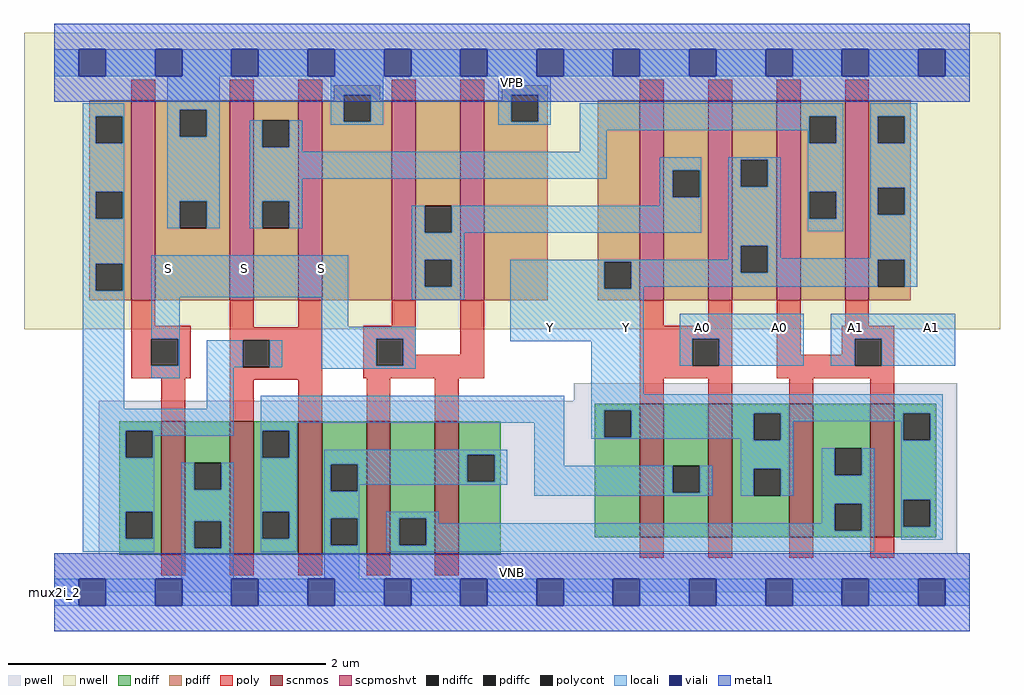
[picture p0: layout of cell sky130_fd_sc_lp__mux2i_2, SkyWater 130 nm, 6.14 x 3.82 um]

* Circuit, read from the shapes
.subckt sky130_fd_sc_lp__mux2i_2 A0 A1 S VGND VNB VPB VPWR Y
XM1 VGND S n1 VNB sky130_fd_pr__nfet_01v8 w=0.84 l=0.15
XM2 n2 n1 VGND VNB sky130_fd_pr__nfet_01v8 w=0.84 l=0.15 m=2
XM3 n3 S VGND VNB sky130_fd_pr__nfet_01v8 w=0.84 l=0.15 m=2
XM4 n2 A0 Y VNB sky130_fd_pr__nfet_01v8 w=0.84 l=0.15 m=2
XM5 n3 A1 Y VNB sky130_fd_pr__nfet_01v8 w=0.84 l=0.15 m=2
XM6 VPWR S n1 VPB sky130_fd_pr__pfet_01v8_hvt w=1.26 l=0.15
XM7 n4 n1 VPWR VPB sky130_fd_pr__pfet_01v8_hvt w=1.26 l=0.15 m=2
XM8 n5 S VPWR VPB sky130_fd_pr__pfet_01v8_hvt w=1.26 l=0.15 m=2
XM9 n5 A0 Y VPB sky130_fd_pr__pfet_01v8_hvt w=1.26 l=0.15 m=2
XM10 n4 A1 Y VPB sky130_fd_pr__pfet_01v8_hvt w=1.26 l=0.15 m=2
.ends

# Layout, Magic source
magic
tech sky130A
magscale 1 2
<< nwell >>
rect -38 331 1190 704
<< pwell >>
rect 654 241 1136 263
rect 56 49 1136 241
rect 0 0 1152 49
<< scnmos >>
rect 135 47 165 215
rect 221 47 251 215
rect 307 47 337 215
rect 393 47 423 215
rect 479 47 509 215
rect 737 69 767 237
rect 823 69 853 237
rect 925 69 955 237
rect 1027 69 1057 237
<< scpmoshvt >>
rect 97 367 127 619
rect 221 367 251 619
rect 307 367 337 619
rect 425 367 455 619
rect 511 367 541 619
rect 737 367 767 619
rect 823 367 853 619
rect 909 367 939 619
rect 995 367 1025 619
<< ndiff >>
rect 680 229 737 237
rect 82 203 135 215
rect 82 169 90 203
rect 124 169 135 203
rect 82 101 135 169
rect 82 67 90 101
rect 124 67 135 101
rect 82 47 135 67
rect 165 163 221 215
rect 165 129 176 163
rect 210 129 221 163
rect 165 89 221 129
rect 165 55 176 89
rect 210 55 221 89
rect 165 47 221 55
rect 251 203 307 215
rect 251 169 262 203
rect 296 169 307 203
rect 251 101 307 169
rect 251 67 262 101
rect 296 67 307 101
rect 251 47 307 67
rect 337 161 393 215
rect 337 127 348 161
rect 382 127 393 161
rect 337 93 393 127
rect 337 59 348 93
rect 382 59 393 93
rect 337 47 393 59
rect 423 93 479 215
rect 423 59 434 93
rect 468 59 479 93
rect 423 47 479 59
rect 509 173 562 215
rect 509 139 520 173
rect 554 139 562 173
rect 509 47 562 139
rect 680 195 692 229
rect 726 195 737 229
rect 680 69 737 195
rect 767 159 823 237
rect 767 125 778 159
rect 812 125 823 159
rect 767 69 823 125
rect 853 225 925 237
rect 853 191 880 225
rect 914 191 925 225
rect 853 155 925 191
rect 853 121 880 155
rect 914 121 925 155
rect 853 69 925 121
rect 955 181 1027 237
rect 955 147 982 181
rect 1016 147 1027 181
rect 955 111 1027 147
rect 955 77 982 111
rect 1016 77 1027 111
rect 955 69 1027 77
rect 1057 225 1110 237
rect 1057 191 1068 225
rect 1102 191 1110 225
rect 1057 116 1110 191
rect 1057 82 1068 116
rect 1102 82 1110 116
rect 1057 69 1110 82
<< pdiff >>
rect 352 626 410 638
rect 352 619 364 626
rect 44 599 97 619
rect 44 565 52 599
rect 86 565 97 599
rect 44 504 97 565
rect 44 470 52 504
rect 86 470 97 504
rect 44 413 97 470
rect 44 379 52 413
rect 86 379 97 413
rect 44 367 97 379
rect 127 607 221 619
rect 127 573 158 607
rect 192 573 221 607
rect 127 492 221 573
rect 127 458 158 492
rect 192 458 221 492
rect 127 367 221 458
rect 251 594 307 619
rect 251 560 262 594
rect 296 560 307 594
rect 251 492 307 560
rect 251 458 262 492
rect 296 458 307 492
rect 251 367 307 458
rect 337 592 364 619
rect 398 619 410 626
rect 563 626 621 638
rect 563 619 575 626
rect 398 592 425 619
rect 337 367 425 592
rect 455 486 511 619
rect 455 452 466 486
rect 500 452 511 486
rect 455 418 511 452
rect 455 384 466 418
rect 500 384 511 418
rect 455 367 511 384
rect 541 592 575 619
rect 609 592 621 626
rect 541 367 621 592
rect 684 416 737 619
rect 684 382 692 416
rect 726 382 737 416
rect 684 367 737 382
rect 767 531 823 619
rect 767 497 778 531
rect 812 497 823 531
rect 767 367 823 497
rect 853 544 909 619
rect 853 510 864 544
rect 898 510 909 544
rect 853 436 909 510
rect 853 402 864 436
rect 898 402 909 436
rect 853 367 909 402
rect 939 599 995 619
rect 939 565 950 599
rect 984 565 995 599
rect 939 504 995 565
rect 939 470 950 504
rect 984 470 995 504
rect 939 367 995 470
rect 1025 599 1078 619
rect 1025 565 1036 599
rect 1070 565 1078 599
rect 1025 509 1078 565
rect 1025 475 1036 509
rect 1070 475 1078 509
rect 1025 418 1078 475
rect 1025 384 1036 418
rect 1070 384 1078 418
rect 1025 367 1078 384
<< ndiffc >>
rect 90 169 124 203
rect 90 67 124 101
rect 176 129 210 163
rect 176 55 210 89
rect 262 169 296 203
rect 262 67 296 101
rect 348 127 382 161
rect 348 59 382 93
rect 434 59 468 93
rect 520 139 554 173
rect 692 195 726 229
rect 778 125 812 159
rect 880 191 914 225
rect 880 121 914 155
rect 982 147 1016 181
rect 982 77 1016 111
rect 1068 191 1102 225
rect 1068 82 1102 116
<< pdiffc >>
rect 52 565 86 599
rect 52 470 86 504
rect 52 379 86 413
rect 158 573 192 607
rect 158 458 192 492
rect 262 560 296 594
rect 262 458 296 492
rect 364 592 398 626
rect 466 452 500 486
rect 466 384 500 418
rect 575 592 609 626
rect 692 382 726 416
rect 778 497 812 531
rect 864 510 898 544
rect 864 402 898 436
rect 950 565 984 599
rect 950 470 984 504
rect 1036 565 1070 599
rect 1036 475 1070 509
rect 1036 384 1070 418
<< poly >>
rect 97 619 127 645
rect 221 619 251 645
rect 307 619 337 645
rect 425 619 455 645
rect 511 619 541 645
rect 737 619 767 645
rect 823 619 853 645
rect 909 619 939 645
rect 995 619 1025 645
rect 97 335 127 367
rect 97 319 172 335
rect 97 285 122 319
rect 156 285 172 319
rect 97 269 172 285
rect 221 333 251 367
rect 307 333 337 367
rect 425 335 455 367
rect 221 317 337 333
rect 221 283 237 317
rect 271 283 337 317
rect 135 215 165 269
rect 221 267 337 283
rect 389 319 455 335
rect 389 285 405 319
rect 439 299 455 319
rect 511 299 541 367
rect 439 285 541 299
rect 389 269 541 285
rect 737 335 767 367
rect 823 335 853 367
rect 737 319 853 335
rect 737 285 803 319
rect 837 285 853 319
rect 737 269 853 285
rect 909 299 939 367
rect 995 335 1025 367
rect 991 319 1057 335
rect 991 299 1007 319
rect 909 285 1007 299
rect 1041 285 1057 319
rect 909 269 1057 285
rect 221 215 251 267
rect 307 215 337 267
rect 393 215 423 269
rect 479 215 509 269
rect 737 237 767 269
rect 823 237 853 269
rect 925 237 955 269
rect 1027 237 1057 269
rect 135 21 165 47
rect 221 21 251 47
rect 307 21 337 47
rect 393 21 423 47
rect 479 21 509 47
rect 737 43 767 69
rect 823 43 853 69
rect 925 43 955 69
rect 1027 43 1057 69
<< polycont >>
rect 122 285 156 319
rect 237 283 271 317
rect 405 285 439 319
rect 803 285 837 319
rect 1007 285 1041 319
<< locali >>
rect 0 649 31 683
rect 65 649 127 683
rect 161 649 223 683
rect 257 649 319 683
rect 353 649 415 683
rect 449 649 511 683
rect 545 649 607 683
rect 641 649 703 683
rect 737 649 799 683
rect 833 649 895 683
rect 929 649 991 683
rect 1025 649 1087 683
rect 1121 649 1152 683
rect 36 599 88 615
rect 36 565 52 599
rect 86 565 88 599
rect 36 504 88 565
rect 36 470 52 504
rect 86 470 88 504
rect 36 413 88 470
rect 142 607 208 649
rect 142 573 158 607
rect 192 573 208 607
rect 348 626 414 649
rect 142 492 208 573
rect 142 458 158 492
rect 192 458 208 492
rect 246 560 262 594
rect 296 560 312 594
rect 348 592 364 626
rect 398 592 414 626
rect 348 588 414 592
rect 559 626 625 649
rect 559 592 575 626
rect 609 592 625 626
rect 559 588 625 592
rect 661 599 993 615
rect 246 554 312 560
rect 661 581 950 599
rect 661 554 695 581
rect 246 520 695 554
rect 948 565 950 581
rect 984 565 993 599
rect 762 531 814 547
rect 246 492 312 520
rect 246 458 262 492
rect 296 458 312 492
rect 762 497 778 531
rect 812 497 814 531
rect 762 486 814 497
rect 450 452 466 486
rect 500 452 814 486
rect 848 544 914 547
rect 848 510 864 544
rect 898 510 914 544
rect 36 379 52 413
rect 86 379 88 413
rect 36 231 88 379
rect 122 371 370 424
rect 122 319 158 371
rect 156 285 158 319
rect 336 334 370 371
rect 450 418 516 452
rect 848 436 914 510
rect 948 504 993 565
rect 948 470 950 504
rect 984 470 993 504
rect 948 454 993 470
rect 1027 599 1086 615
rect 1027 565 1036 599
rect 1070 565 1086 599
rect 1027 509 1086 565
rect 1027 475 1036 509
rect 1070 475 1086 509
rect 848 418 864 436
rect 450 384 466 418
rect 500 384 516 418
rect 450 368 516 384
rect 574 416 864 418
rect 574 382 692 416
rect 726 402 864 416
rect 898 420 914 436
rect 1027 420 1086 475
rect 898 418 1086 420
rect 898 402 1036 418
rect 726 384 1036 402
rect 1070 384 1086 418
rect 726 382 742 384
rect 336 319 455 334
rect 122 269 158 285
rect 192 283 237 317
rect 271 283 287 317
rect 336 285 405 319
rect 439 285 455 319
rect 574 316 742 382
rect 192 231 226 283
rect 336 281 455 285
rect 676 249 742 316
rect 787 319 943 350
rect 787 285 803 319
rect 837 285 943 319
rect 977 319 1134 350
rect 977 285 1007 319
rect 1041 285 1134 319
rect 36 203 226 231
rect 36 169 90 203
rect 124 197 226 203
rect 260 213 642 247
rect 260 203 306 213
rect 124 169 126 197
rect 36 101 126 169
rect 260 169 262 203
rect 296 169 306 203
rect 36 67 90 101
rect 124 67 126 101
rect 36 51 126 67
rect 160 129 176 163
rect 210 129 226 163
rect 160 89 226 129
rect 160 55 176 89
rect 210 55 226 89
rect 160 17 226 55
rect 260 101 306 169
rect 260 67 262 101
rect 296 67 306 101
rect 260 51 306 67
rect 340 173 570 179
rect 340 161 520 173
rect 340 127 348 161
rect 382 139 520 161
rect 554 139 570 173
rect 382 135 570 139
rect 604 159 642 213
rect 676 229 1118 249
rect 676 195 692 229
rect 726 225 1118 229
rect 726 195 880 225
rect 676 193 880 195
rect 864 191 880 193
rect 914 215 1068 225
rect 914 191 930 215
rect 382 127 384 135
rect 340 93 384 127
rect 604 125 778 159
rect 812 125 828 159
rect 604 121 828 125
rect 864 155 930 191
rect 1066 191 1068 215
rect 1102 191 1118 225
rect 864 121 880 155
rect 914 121 930 155
rect 966 147 982 181
rect 1016 147 1032 181
rect 966 111 1032 147
rect 340 59 348 93
rect 382 59 384 93
rect 340 17 384 59
rect 418 93 484 101
rect 418 59 434 93
rect 468 87 484 93
rect 966 87 982 111
rect 468 77 982 87
rect 1016 77 1032 111
rect 468 59 1032 77
rect 1066 116 1118 191
rect 1066 82 1068 116
rect 1102 82 1118 116
rect 1066 66 1118 82
rect 418 51 1032 59
rect 0 -17 31 17
rect 65 -17 127 17
rect 161 -17 223 17
rect 257 -17 319 17
rect 353 -17 415 17
rect 449 -17 511 17
rect 545 -17 607 17
rect 641 -17 703 17
rect 737 -17 799 17
rect 833 -17 895 17
rect 929 -17 991 17
rect 1025 -17 1087 17
rect 1121 -17 1152 17
<< viali >>
rect 31 649 65 683
rect 127 649 161 683
rect 223 649 257 683
rect 319 649 353 683
rect 415 649 449 683
rect 511 649 545 683
rect 607 649 641 683
rect 703 649 737 683
rect 799 649 833 683
rect 895 649 929 683
rect 991 649 1025 683
rect 1087 649 1121 683
rect 31 -17 65 17
rect 127 -17 161 17
rect 223 -17 257 17
rect 319 -17 353 17
rect 415 -17 449 17
rect 511 -17 545 17
rect 607 -17 641 17
rect 703 -17 737 17
rect 799 -17 833 17
rect 895 -17 929 17
rect 991 -17 1025 17
rect 1087 -17 1121 17
<< metal1 >>
rect 0 683 1152 715
rect 0 649 31 683
rect 65 649 127 683
rect 161 649 223 683
rect 257 649 319 683
rect 353 649 415 683
rect 449 649 511 683
rect 545 649 607 683
rect 641 649 703 683
rect 737 649 799 683
rect 833 649 895 683
rect 929 649 991 683
rect 1025 649 1087 683
rect 1121 649 1152 683
rect 0 617 1152 649
rect 0 17 1152 49
rect 0 -17 31 17
rect 65 -17 127 17
rect 161 -17 223 17
rect 257 -17 319 17
rect 353 -17 415 17
rect 449 -17 511 17
rect 545 -17 607 17
rect 641 -17 703 17
rect 737 -17 799 17
rect 833 -17 895 17
rect 929 -17 991 17
rect 1025 -17 1087 17
rect 1121 -17 1152 17
rect 0 -49 1152 -17
<< labels >>
flabel pwell s 0 0 1152 49 0 FreeSans 200 0 0 0 VNB
port 5 nsew ground bidirectional
flabel nwell s 0 617 1152 666 0 FreeSans 200 0 0 0 VPB
port 6 nsew power bidirectional
rlabel comment s 0 0 0 0 4 mux2i_2
flabel metal1 s 0 617 1152 666 0 FreeSans 340 0 0 0 VPWR
port 7 nsew power bidirectional
flabel metal1 s 0 0 1152 49 0 FreeSans 340 0 0 0 VGND
port 4 nsew ground bidirectional
flabel locali s 127 390 161 424 0 FreeSans 340 0 0 0 S
port 3 nsew signal input
flabel locali s 223 390 257 424 0 FreeSans 340 0 0 0 S
port 3 nsew signal input
flabel locali s 319 390 353 424 0 FreeSans 340 0 0 0 S
port 3 nsew signal input
flabel locali s 799 316 833 350 0 FreeSans 340 0 0 0 A0
port 1 nsew signal input
flabel locali s 895 316 929 350 0 FreeSans 340 0 0 0 A0
port 1 nsew signal input
flabel locali s 991 316 1025 350 0 FreeSans 340 0 0 0 A1
port 2 nsew signal input
flabel locali s 1087 316 1121 350 0 FreeSans 340 0 0 0 A1
port 2 nsew signal input
flabel locali s 607 316 641 350 0 FreeSans 340 0 0 0 Y
port 8 nsew signal output
flabel locali s 703 316 737 350 0 FreeSans 340 0 0 0 Y
port 8 nsew signal output
<< properties >>
string LEFsite unit
string LEFclass CORE
string FIXED_BBOX 0 0 1152 666
string GDS_FILE $PDKPATH/libs.ref/sky130_fd_sc_lp/gds/sky130_fd_sc_lp.gds
string LEFsymmetry X Y R90
string GDS_END 3849140
string GDS_START 3840040
<< end >>
